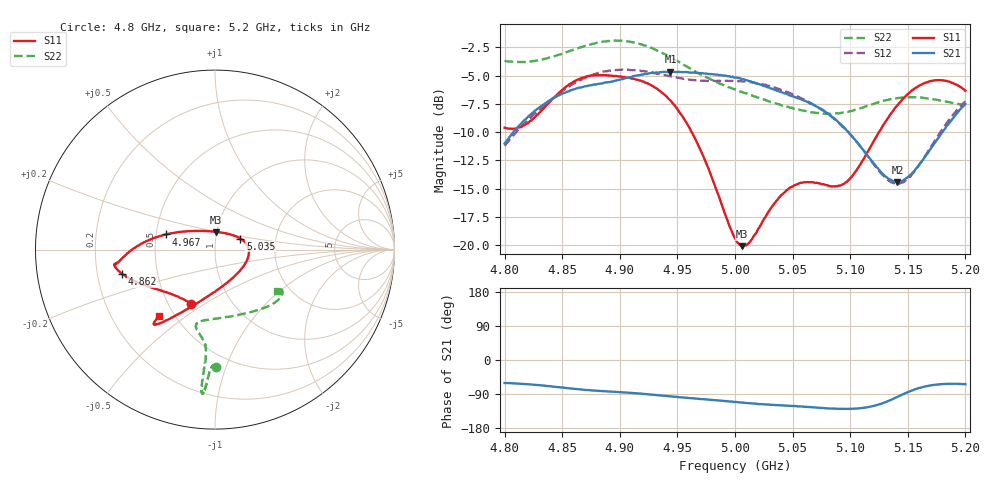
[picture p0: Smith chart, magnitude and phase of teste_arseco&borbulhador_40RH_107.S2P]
! Network Analyzer HP8722D
! Hewlett-Packard
! Data name: Linha & Wilkinson
! Saver's name: Rodrigo Anjos
! Comments: Teste da utilização de aquisição
! continua pelo VNA HP8722D
! Time and date: 15/4/2025 17:14
!  Frequency  S11  S21  S12  S22
# HZ  S  MA R 50
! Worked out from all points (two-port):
!   401 points, 4.8 GHz to 5.2 GHz, reference 50 ohm
!   highest |S21| = -4.64 dB at 4.944 GHz (marker M1); lowest = -14.4 dB at 5.141 GHz (marker M2)
!   |S21| within 3 dB of the highest: 4.832 GHz to 5.069 GHz (236.8 MHz wide, 4.78 % of centre); 5.198536 GHz to end of sweep
!   lowest |S11| = -20.1 dB at 5.006 GHz (marker M3), VSWR 1.22, Z = 49.5 + j9.87 ohm
!   |S11| at or under -10 dB: 4.962 GHz to 5.125 GHz (162.5 MHz wide, 3.22 % of centre)
!   |S22| runs from -8.4 to -1.9 dB; largest |S21 - S12| = 0.88
!   S11 on the Smith chart (normalised r, x): 4.8 GHz: 0.65, -0.44; 4.862 GHz: 0.31, -0.12; 4.967 GHz: 0.57, +0.10; 5.035 GHz: 1.32, +0.16; 5.2 GHz: 0.41, -0.40
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4.8e9  0.3309 -113.6  0.2814 -60.8  0.275 -174.9  0.6552 -89.5
4.819e9  0.3446 -133.4  0.3639 -63.6  0.3517 -173.1  0.6485 -91.2
4.862e9  0.536 -165.5  0.4931 -76.6  0.5264 -176.3  0.7402 -93.4
4.867e9  0.5493 -167.4  0.5008 -78.1  0.5416 -177.1  0.7549 -93.7
4.902e9  0.5555 -172.1  0.5433 -85.1  0.5995 175.6  0.8029 -95.1
4.934e9  0.4855 -177.8  0.5807 -93.3  0.5731 172.0  0.7191 -95.5
4.944e9  0.4363 177.6  0.5859 -96.0  0.5592 172.2  0.6791 -95.3
4.967e9  0.2851 162.7  0.5789 -102.0  0.5367 174.1  0.5817 -94.9
5e9  0.1072 107.6  0.5515 -110.9  0.5342 176.5  0.4895 -99.1
5.006e9  0.09885 87.4  0.5436 -112.2  0.5312 176.6  0.4765 -100.7
5.014e9  0.1049 61.6  0.5304 -114.5  0.527 176.4  0.4618 -102.4
5.035e9  0.1544 23.3  0.4852 -119.0  0.498 175.2  0.4248 -103.9
5.05e9  0.1818 7.3  0.4572 -121.5  0.4642 174.4  0.404 -100.4
5.067e9  0.1899 -11.0  0.4207 -124.7  0.4219 174.1  0.3873 -91.8
5.085e9  0.1819 -39.5  0.3666 -128.3  0.3657 173.8  0.382 -78.7
5.097e9  0.1904 -64.6  0.3214 -129.0  0.3209 174.7  0.3884 -68.6
5.134e9  0.3727 -115.9  0.1958 -107.0  0.1921 -159.9  0.4415 -43.4
5.141e9  0.4161 -119.8  0.1905 -97.2  0.1871 -148.8  0.4476 -40.2
5.152e9  0.4755 -124.3  0.2039 -82.4  0.2008 -131.4  0.4516 -36.3
5.17e9  0.5325 -128.4  0.2674 -66.9  0.2721 -112.9  0.444 -32.0
5.184e9  0.5324 -129.7  0.3377 -62.9  0.3481 -107.1  0.4315 -31.0
5.2e9  0.4826 -130.2  0.4218 -63.9  0.4337 -105.9  0.4154 -33.3
